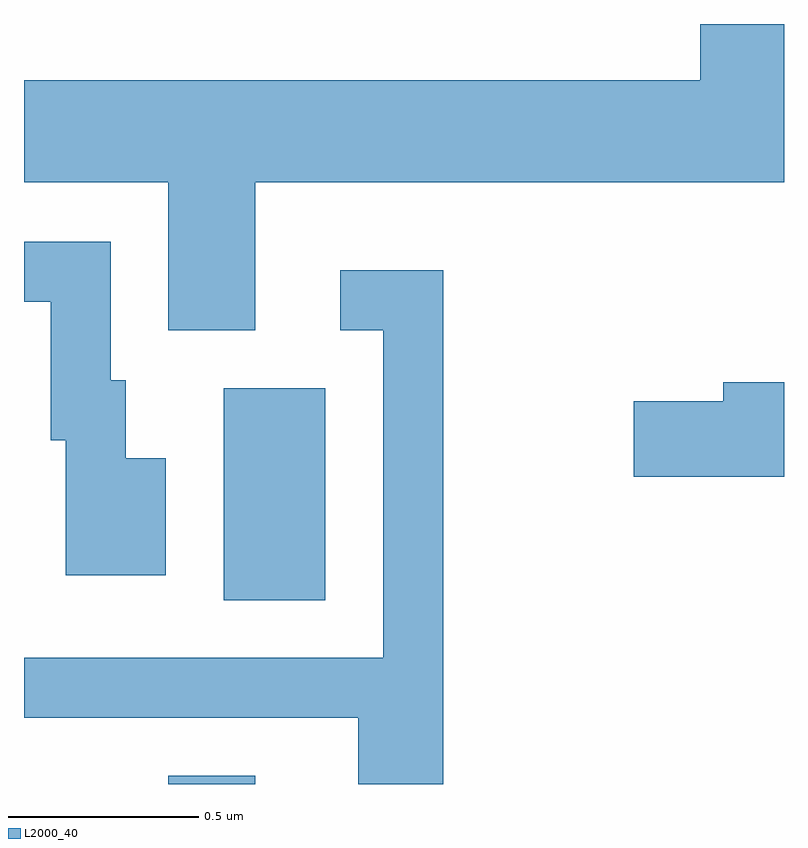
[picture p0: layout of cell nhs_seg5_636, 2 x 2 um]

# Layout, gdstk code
import gdstk
lib = gdstk.Library(unit=1e-6, precision=1e-09)
def R(c, l, rs):  # rectangles x0, y0, x1, y1
    for r in rs: c.add(gdstk.rectangle(r[:2], r[2:], *l))
def P(c, l, *ps):  # polygons
    for p in ps: c.add(gdstk.Polygon(p, *l))
L2000_40 = (2000, 40)

nhs_seg5_636 = lib.new_cell('nhs_seg5_636')
R(nhs_seg5_636, L2000_40, [(189.991,1484.072,190.219,1484.094), (190.136,1484.556,190.404,1485.114)])
P(nhs_seg5_636, L2000_40, [(190.219,1485.656),(191.611,1485.656),(191.611,1486.072),(191.391,1486.072),(191.391,1485.924),(189.611,1485.924),(189.611,1485.656),(189.991,1485.656),(189.991,1485.266),(190.219,1485.266)],
  [(189.984,1484.929),(189.879,1484.929),(189.879,1485.134),(189.839,1485.134),(189.839,1485.499),(189.611,1485.499),(189.611,1485.341),(189.681,1485.341),(189.681,1484.976),(189.721,1484.976),(189.721,1484.621),(189.984,1484.621)],
  [(190.714,1485.424),(190.443,1485.424),(190.443,1485.266),(190.556,1485.266),(190.556,1484.404),(189.611,1484.404),(189.611,1484.246),(190.491,1484.246),(190.491,1484.072),(190.714,1484.072)],
  [(191.611,1485.129),(191.451,1485.129),(191.451,1485.079),(191.216,1485.079),(191.216,1484.881),(191.611,1484.881)])

lib.write_gds('nhs_seg5_636.gds')
